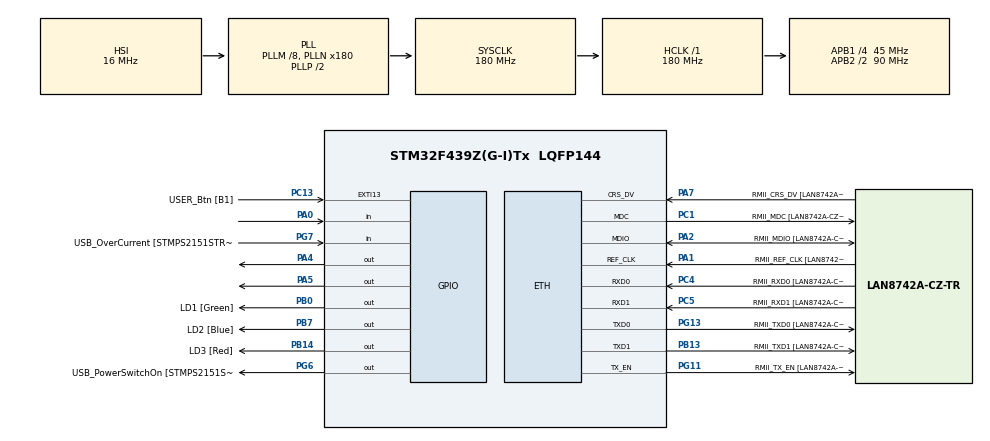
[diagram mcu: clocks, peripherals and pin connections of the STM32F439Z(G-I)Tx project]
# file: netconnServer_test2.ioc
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ETH.MediaInterface=ETH_MEDIA_INTERFACE_RMII
ETH.PhyAddress=0
ETH.RxMode=ETH_RXINTERRUPT_MODE
FREERTOS.Tasks01=defaultTask,24,128,StartDefaultTask,Default,NULL,Dynamic,NULL,NULL;blinkingLEDTask,24,128,startBlinkingLED,Default,NULL,Dynamic,NULL,NULL
FREERTOS.configUSE_NEWLIB_REENTRANT=1
HASH.KeySize=17
HASH.SecureHashAlgorithmType=HMAC SHA256
HASH.pKey=00 01 02 03 04 05 06 07 08 09 0A 0B 0C 0D 0E 0F 10
HASH.pKeyInput=000102030405060708090A0B0C0D0E0F10
LWIP.GATEWAY_ADDRESS=169.254.084.058
LWIP.IP_ADDRESS=169.254.084.057
LWIP.LWIP_DHCP=0
LWIP.LWIP_TCP_SACK_OUT=1
LWIP.MEMP_NUM_TCP_SEG=100
LWIP.MEM_SIZE=21*1024
LWIP.NETMASK_ADDRESS=255.255.000.000
LWIP.PBUF_POOL_BUFSIZE=1500
LWIP.TCP_MSS=1426
LWIP.TCP_SND_BUF=11408
LWIP.TCP_SND_QUEUELEN=100
LWIP.TCP_WND=11408
LWIP.Version=v2.1.2_Cube
Mcu.Family=STM32F4
Mcu.Name=STM32F439Z(G-I)Tx
Mcu.Package=LQFP144
NVIC.ETH_IRQn=true\:5\:0\:false\:false\:true\:true\:false\:true
NVIC.PriorityGroup=NVIC_PRIORITYGROUP_4
NVIC.TIM1_UP_TIM10_IRQn=true\:15\:0\:false\:false\:true\:false\:false\:true
NVIC.TimeBase=TIM1_UP_TIM10_IRQn
NVIC.TimeBaseIP=TIM1
PA0/WKUP.Signal=GPIO_Input
PA1.GPIO_Label=RMII_REF_CLK [LAN8742A-CZ-TR_REFCLK0]
PA1.Mode=RMII
PA1.Signal=ETH_REF_CLK
PA10.GPIO_Label=USB_ID
PA10.Signal=USB_OTG_FS_ID
PA11.GPIO_Label=USB_DM
PA11.Signal=USB_OTG_FS_DM
PA12.GPIO_Label=USB_DP
PA12.Signal=USB_OTG_FS_DP
PA13.GPIO_Label=TMS
PA13.Signal=SYS_JTMS-SWDIO
PA14.GPIO_Label=TCK
PA14.Signal=SYS_JTCK-SWCLK
PA2.GPIO_Label=RMII_MDIO [LAN8742A-CZ-TR_MDIO]
PA2.Mode=RMII
PA2.Signal=ETH_MDIO
PA4.Signal=GPIO_Output
PA5.Signal=GPIO_Output
PA7.GPIO_Label=RMII_CRS_DV [LAN8742A-CZ-TR_CRS_DV]
PA7.Mode=RMII
PA7.Signal=ETH_CRS_DV
PA8.GPIO_Label=USB_SOF [TP1]
PA8.Signal=USB_OTG_FS_SOF
PA9.GPIO_Label=USB_VBUS
PA9.Signal=USB_OTG_FS_VBUS
PB0.GPIO_Label=LD1 [Green]
PB0.Signal=GPIO_Output
PB13.GPIO_Label=RMII_TXD1 [LAN8742A-CZ-TR_TXD1]
PB13.Mode=RMII
PB13.Signal=ETH_TXD1
PB14.GPIO_Label=LD3 [Red]
PB14.Signal=GPIO_Output
PB7.GPIO_Label=LD2 [Blue]
PB7.Signal=GPIO_Output
PC1.GPIO_Label=RMII_MDC [LAN8742A-CZ-TR_MDC]
PC1.Mode=RMII
PC1.Signal=ETH_MDC
PC13.GPIO_Label=USER_Btn [B1]
PC13.Signal=GPXTI13
PC14/OSC32_IN.Signal=RCC_OSC32_IN
PC15/OSC32_OUT.Signal=RCC_OSC32_OUT
PC4.GPIO_Label=RMII_RXD0 [LAN8742A-CZ-TR_RXD0]
PC4.Mode=RMII
PC4.Signal=ETH_RXD0
PC5.GPIO_Label=RMII_RXD1 [LAN8742A-CZ-TR_RXD1]
PC5.Mode=RMII
PC5.Signal=ETH_RXD1
PD8.GPIO_Label=STLK_RX [STM32F103CBT6_PA3]
PD8.Signal=USART3_TX
PD9.GPIO_Label=STLK_TX [STM32F103CBT6_PA2]
PD9.Signal=USART3_RX
PG11.GPIO_Label=RMII_TX_EN [LAN8742A-CZ-TR_TXEN]
PG11.Mode=RMII
PG11.Signal=ETH_TX_EN
PG13.GPIO_Label=RMII_TXD0 [LAN8742A-CZ-TR_TXD0]
PG13.Mode=RMII
PG13.Signal=ETH_TXD0
PG6.GPIO_Label=USB_PowerSwitchOn [STMPS2151STR_EN]
PG6.Signal=GPIO_Output
PG7.GPIO_Label=USB_OverCurrent [STMPS2151STR_FAULT]
PG7.Signal=GPIO_Input
PH0/OSC_IN.GPIO_Label=MCO [STM32F103CBT6_PA8]
PH0/OSC_IN.Mode=HSE-External-Oscillator
PH0/OSC_IN.Signal=RCC_OSC_IN
PH1/OSC_OUT.Mode=HSE-External-Oscillator
PH1/OSC_OUT.Signal=RCC_OSC_OUT
ProjectManager.HeapSize=0x200
ProjectManager.StackSize=0x400
ProjectManager.TargetToolchain=STM32CubeIDE
RCC.48MHZClocksFreq_Value=45000000
RCC.AHBFreq_Value=180000000
RCC.APB1CLKDivider=RCC_HCLK_DIV4
RCC.APB1Freq_Value=45000000
RCC.APB1TimFreq_Value=90000000
RCC.APB2CLKDivider=RCC_HCLK_DIV2
RCC.APB2Freq_Value=90000000
RCC.APB2TimFreq_Value=180000000
RCC.CortexFreq_Value=180000000
RCC.HCLKFreq_Value=180000000
RCC.HSE_VALUE=8000000
RCC.HSI_VALUE=16000000
RCC.LSE_VALUE=32768
RCC.PLLM=8
RCC.PLLMUL=RCC_PLL_MUL9
RCC.PLLN=180
RCC.PLLQ=8
RCC.PRESCALERUSB=RCC_USBCLKSOURCE_PLL_DIV1_5
RCC.SYSCLKFreq_VALUE=180000000
RCC.SYSCLKSource=RCC_SYSCLKSOURCE_PLLCLK
RCC.SYSCLKSourceVirtual=RCC_SYSCLKSOURCE_PLLCLK
RCC.USBFreq_Value=48000000
RCC.VCOOutputFreq_Value=360000000
VP_CRC_VS_CRC.Mode=CRC_Activate
VP_FREERTOS_VS_CMSIS_V2.Mode=CMSIS_V2
VP_HASH_VS_HASH.Mode=HASH_Activate
VP_LWIP_VS_Enabled.Mode=Enabled
VP_RNG_VS_RNG.Mode=RNG_Activate
VP_SYS_VS_tim1.Mode=TIM1
board=NUCLEO-F439ZI

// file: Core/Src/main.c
/* USER CODE BEGIN Header */
/**
  ******************************************************************************
  * @file           : main.c
  * @brief          : Main program body
  ******************************************************************************
  * @attention
  *
  * <h2><center>&copy; Copyright (c) 2023 STMicroelectronics.
  * All rights reserved.</center></h2>
  *
  * This software component is licensed by ST under BSD 3-Clause license,
  * the "License"; You may not use this file except in compliance with the
  * License. You may obtain a copy of the License at:
  *                        opensource.org/licenses/BSD-3-Clause
  *
  ******************************************************************************
  */
/* USER CODE END Header */
#include "main.h"
#include "cmsis_os.h"
#include "crc.h"
#include "hash.h"
#include "lwip.h"
#include "rng.h"
#include "gpio.h"

/* USER CODE BEGIN Includes */
#include "tcp_server.h"
#include "uds_server.h"
#include "buzzer.h"

/* USER CODE END Includes */

void SystemClock_Config(void);
void MX_FREERTOS_Init(void);

int main(void)
{

  /* MCU Configuration--------------------------------------------------------*/

  /* Reset of all peripherals, Initializes the Flash interface and the Systick. */
  HAL_Init();

  /* Configure the system clock */
  SystemClock_Config();

  /* Initialize all configured peripherals */
  MX_GPIO_Init();
  MX_HASH_Init();
  MX_RNG_Init();
  MX_CRC_Init();

  /* Init scheduler */
  osKernelInitialize();  /* Call init function for freertos objects (in freertos.c) */
  MX_FREERTOS_Init();
  /* Start scheduler */
  osKernelStart();

  /* We should never get here as control is now taken by the scheduler */
  /* Infinite loop */
  while (1)
  {

  }
}

void SystemClock_Config(void)
{
  RCC_OscInitTypeDef RCC_OscInitStruct = {0};
  RCC_ClkInitTypeDef RCC_ClkInitStruct = {0};

  /** Configure the main internal regulator output voltage
  */
  __HAL_RCC_PWR_CLK_ENABLE();
  __HAL_PWR_VOLTAGESCALING_CONFIG(PWR_REGULATOR_VOLTAGE_SCALE1);
  /** Initializes the RCC Oscillators according to the specified parameters
  * in the RCC_OscInitTypeDef structure.
  */
  RCC_OscInitStruct.OscillatorType = RCC_OSCILLATORTYPE_HSI;
  RCC_OscInitStruct.HSIState = RCC_HSI_ON;
  RCC_OscInitStruct.HSICalibrationValue = RCC_HSICALIBRATION_DEFAULT;
  RCC_OscInitStruct.PLL.PLLState = RCC_PLL_ON;
  RCC_OscInitStruct.PLL.PLLSource = RCC_PLLSOURCE_HSI;
  RCC_OscInitStruct.PLL.PLLM = 8;
  RCC_OscInitStruct.PLL.PLLN = 180;
  RCC_OscInitStruct.PLL.PLLP = RCC_PLLP_DIV2;
  RCC_OscInitStruct.PLL.PLLQ = 8;
  if (HAL_RCC_OscConfig(&RCC_OscInitStruct) != HAL_OK)
  {
    Error_Handler();
  }
  /** Activate the Over-Drive mode
  */
  if (HAL_PWREx_EnableOverDrive() != HAL_OK)
  {
    Error_Handler();
  }
  /** Initializes the CPU, AHB and APB buses clocks
  */
  RCC_ClkInitStruct.ClockType = RCC_CLOCKTYPE_HCLK|RCC_CLOCKTYPE_SYSCLK
                              |RCC_CLOCKTYPE_PCLK1|RCC_CLOCKTYPE_PCLK2;
  RCC_ClkInitStruct.SYSCLKSource = RCC_SYSCLKSOURCE_PLLCLK;
  RCC_ClkInitStruct.AHBCLKDivider = RCC_SYSCLK_DIV1;
  RCC_ClkInitStruct.APB1CLKDivider = RCC_HCLK_DIV4;
  RCC_ClkInitStruct.APB2CLKDivider = RCC_HCLK_DIV2;

  if (HAL_RCC_ClockConfig(&RCC_ClkInitStruct, FLASH_LATENCY_5) != HAL_OK)
  {
    Error_Handler();
  }
}

void HAL_TIM_PeriodElapsedCallback(TIM_HandleTypeDef *htim)
{
  if (htim->Instance == TIM1) {
    HAL_IncTick();
  }
}

void Error_Handler(void)
{
}

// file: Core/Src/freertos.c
/* USER CODE BEGIN Header */
/**
  ******************************************************************************
  * File Name          : freertos.c
  * Description        : Code for freertos applications
  ******************************************************************************
  * @attention
  *
  * Copyright (c) 2023 STMicroelectronics.
  * All rights reserved.
  *
  * This software is licensed under terms that can be found in the LICENSE file
  * in the root directory of this software component.
  * If no LICENSE file comes with this software, it is provided AS-IS.
  *
  ******************************************************************************
  */
/* USER CODE END Header */

#include "FreeRTOS.h"
#include "task.h"
#include "main.h"
#include "cmsis_os.h"

/* USER CODE BEGIN Includes */
#include "uds_server.h"
#include "ultrasonic.h"
#include "buzzer.h"
/* USER CODE END Includes */

/* Definitions for defaultTask */
osThreadId_t defaultTaskHandle;
const osThreadAttr_t defaultTask_attributes = {
  .name = "defaultTask",
  .stack_size = 128 * 4,
  .priority = (osPriority_t) osPriorityNormal,
};
/* Definitions for blinkingLEDTask */
osThreadId_t blinkingLEDTaskHandle;
const osThreadAttr_t blinkingLEDTask_attributes = {
  .name = "blinkingLEDTask",
  .stack_size = 128 * 4,
  .priority = (osPriority_t) osPriorityNormal,
};

void StartDefaultTask(void *argument);
void startBlinkingLED(void *argument);

extern void MX_LWIP_Init(void);
void MX_FREERTOS_Init(void); /* (MISRA C 2004 rule 8.1) */

void MX_FREERTOS_Init(void) {

  /* Create the thread(s) */
  /* creation of defaultTask */
  defaultTaskHandle = osThreadNew(StartDefaultTask, NULL, &defaultTask_attributes);

  /* creation of blinkingLEDTask */
  blinkingLEDTaskHandle = osThreadNew(startBlinkingLED, NULL, &blinkingLEDTask_attributes);

}

void StartDefaultTask(void *argument)
{
  /* init code for LWIP */
  MX_LWIP_Init();
  /* USER CODE BEGIN StartDefaultTask */
  UDS_init();
  /* Infinite loop */
  for(;;)
  {
	  osDelay(1);

  }
  /* USER CODE END StartDefaultTask */
}

void startBlinkingLED(void *argument)
{
  /* USER CODE BEGIN startBlinkingLED */
	ultrasonic_init();
  /* Infinite loop */
  for(;;)
  {
	  ultrasonic_get_distance();
	  if (g_ultrasonic_last_measured_distance <= ULTRASONIC_DISTANCE_2){
		  buzzer_on();
		  HAL_Delay(200);
		  buzzer_off();
		  HAL_Delay(200);
	  }
	  else if (g_ultrasonic_last_measured_distance <= ULTRASONIC_DISTANCE_1) {
		  buzzer_on();
		  HAL_Delay(400);
		  buzzer_off();
		  HAL_Delay(400);
	  }
	  else{
		  buzzer_off();
	  }

	  osDelay(1);
  }
  /* USER CODE END startBlinkingLED */
}
